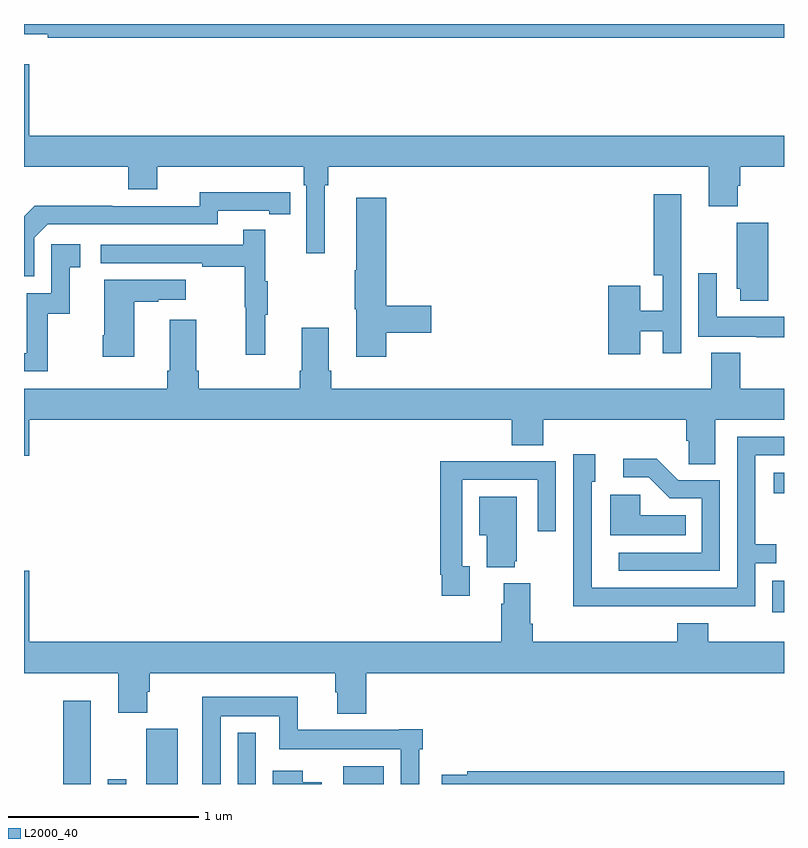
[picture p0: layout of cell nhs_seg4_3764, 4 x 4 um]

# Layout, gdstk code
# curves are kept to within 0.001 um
import gdstk
lib = gdstk.Library(unit=1e-6, precision=1e-09)
def R(c, l, rs):  # rectangles x0, y0, x1, y1
    for r in rs: c.add(gdstk.rectangle(r[:2], r[2:], *l))
def P(c, l, *ps):  # polygons
    for p in ps: c.add(gdstk.Polygon(p, *l))
L2000_40 = (2000, 40)

nhs_seg4_3764 = lib.new_cell('nhs_seg4_3764')
R(nhs_seg4_3764, L2000_40, [(309.441,798.9,309.537,798.925), (309.644,798.9,309.808,799.191), (310.125,798.9,310.221,799.171), (310.679,798.9,310.894,798.994), (312.939,799.803,313,799.971), (312.945,800.429,313,800.539)])
P(nhs_seg4_3764, L2000_40, [(313,802.9),(309,802.9),(309,802.847),(309.124,802.847),(309.124,802.828),(313,802.828)],
  [(310.582,802.052),(310.601,802.052),(310.601,802.148),(312.605,802.148),(312.605,801.94),(312.757,801.94),(312.757,802.049),(312.77,802.049),(312.77,802.148),(313,802.148),(313,802.312),(309.028,802.312),(309.028,802.687),(309,802.687),(309,802.148),(309.548,802.148),(309.548,802.031),(309.7,802.031),(309.7,802.148),(310.472,802.148),(310.472,802.052),(310.485,802.052),(310.485,801.693),(310.582,801.693)],
  [(309.054,801.774),(309.126,801.846),(310.02,801.846),(310.02,801.918),(310.292,801.918),(310.292,801.898),(310.4,801.898),(310.4,802.014),(309.924,802.015),(309.924,801.942),(309.464,801.942),(309.464,801.944),(309.056,801.944),(309,801.888),(309,801.573),(309.054,801.573)],
  [(312.244,801.282),(312.363,801.282),(312.363,801.168),(312.459,801.168),(312.459,801.682),(312.46,801.682),(312.46,802.003),(312.314,802.003),(312.314,801.578),(312.363,801.578),(312.363,801.392),(312.244,801.392),(312.244,801.523),(312.074,801.523),(312.074,801.162),(312.244,801.162)],
  [(310.907,801.274),(311.143,801.274),(311.143,801.416),(310.907,801.416),(310.907,801.985),(310.748,801.985),(310.748,801.605),(310.741,801.605),(310.741,801.399),(310.748,801.399),(310.748,801.15),(310.907,801.15)],
  [(312.916,801.855),(312.752,801.855),(312.752,801.507),(312.77,801.507),(312.77,801.444),(312.916,801.444)],
  [(310.271,801.371),(310.282,801.371),(310.282,801.545),(310.271,801.545),(310.271,801.817),(310.153,801.817),(310.153,801.738),(309.405,801.738),(309.405,801.642),(309.937,801.642),(309.937,801.622),(310.161,801.622),(310.161,801.408),(310.168,801.408),(310.168,801.159),(310.271,801.159)],
  [(309.124,801.375),(309.242,801.375),(309.242,801.621),(309.295,801.621),(309.295,801.742),(309.144,801.742),(309.144,801.483),(309.015,801.483),(309.015,801.168),(309,801.168),(309,801.072),(309.124,801.072)],
  [(313,801.358),(312.645,801.358),(312.645,801.589),(312.549,801.589),(312.549,801.254),(312.853,801.254),(312.853,801.252),(313,801.252)],
  [(309.58,801.439),(309.707,801.439),(309.707,801.449),(309.85,801.449),(309.85,801.553),(309.422,801.553),(309.422,801.262),(309.415,801.262),(309.415,801.15),(309.58,801.15)],
  [(312.637,800.816),(313,800.816),(313,800.98),(312.77,800.98),(312.77,801.169),(312.617,801.169),(312.617,800.98),(310.616,800.98),(310.616,801.076),(310.603,801.076),(310.603,801.301),(310.463,801.301),(310.463,801.076),(310.451,801.076),(310.451,800.98),(309.92,800.98),(309.92,801.076),(309.907,801.076),(309.907,801.343),(309.767,801.343),(309.767,801.076),(309.755,801.076),(309.755,800.98),(309,800.98),(309,800.628),(309.028,800.628),(309.028,800.816),(311.567,800.816),(311.567,800.683),(311.732,800.683),(311.732,800.816),(312.485,800.816),(312.485,800.707),(312.498,800.707),(312.498,800.584),(312.637,800.584)],
  [(312.353,799.836),(312.849,799.836),(312.849,800.061),(312.959,800.061),(312.959,800.162),(312.849,800.162),(312.849,800.631),(313,800.631),(313,800.727),(312.753,800.727),(312.753,799.932),(311.989,799.932),(311.989,800.186),(311.988,800.186),(311.988,800.49),(312.007,800.49),(312.007,800.635),(311.892,800.635),(311.892,800.141),(311.89,800.141),(311.89,799.835),(312.353,799.835)],
  [(312.663,800.499),(312.444,800.499),(312.331,800.612),(312.153,800.612),(312.153,800.514),(312.287,800.514),(312.398,800.403),(312.567,800.403),(312.567,800.118),(312.129,800.118),(312.129,800.022),(312.663,800.022)],
  [(311.347,800.046),(311.307,800.046),(311.307,800.502),(311.703,800.502),(311.703,800.229),(311.799,800.229),(311.799,800.598),(311.483,800.598),(311.483,800.6),(311.191,800.6),(311.191,800.002),(311.199,800.002),(311.199,799.89),(311.347,799.89)],
  [(312.482,800.314),(312.243,800.314),(312.243,800.422),(312.086,800.422),(312.086,800.21),(312.482,800.21)],
  [(311.582,800.073),(311.593,800.073),(311.593,800.413),(311.396,800.413),(311.396,800.21),(311.435,800.21),(311.435,800.042),(311.582,800.042)],
  [(309.028,800.023),(309,800.023),(309,799.484),(309.497,799.484),(309.497,799.276),(309.649,799.276),(309.649,799.385),(309.662,799.385),(309.662,799.484),(310.637,799.484),(310.637,799.383),(310.649,799.383),(310.649,799.271),(310.802,799.271),(310.802,799.484),(313,799.484),(313,799.648),(312.602,799.648),(312.602,799.747),(312.437,799.747),(312.437,799.648),(311.678,799.648),(311.678,799.744),(311.665,799.744),(311.665,799.957),(311.525,799.957),(311.525,799.85),(311.513,799.85),(311.513,799.648),(309.028,799.648)],
  [(310.035,799.256),(310.344,799.256),(310.344,799.082),(310.983,799.082),(310.983,798.9),(311.079,798.9),(311.079,799.082),(311.099,799.082),(311.099,799.189),(310.976,799.189),(310.976,799.186),(310.442,799.186),(310.442,799.36),(309.938,799.36),(309.938,798.9),(310.035,798.9)],
  [(309.351,798.925),(309.352,798.925),(309.352,799.339),(309.206,799.339),(309.206,798.9),(309.351,798.9)],
  [(310.567,798.91),(310.468,798.91),(310.468,798.97),(310.31,798.97),(310.31,798.9),(310.567,798.9)],
  [(313,798.968),(311.332,798.968),(311.332,798.948),(311.198,798.948),(311.198,798.9),(313,798.9)])

lib.write_gds('nhs_seg4_3764.gds')
